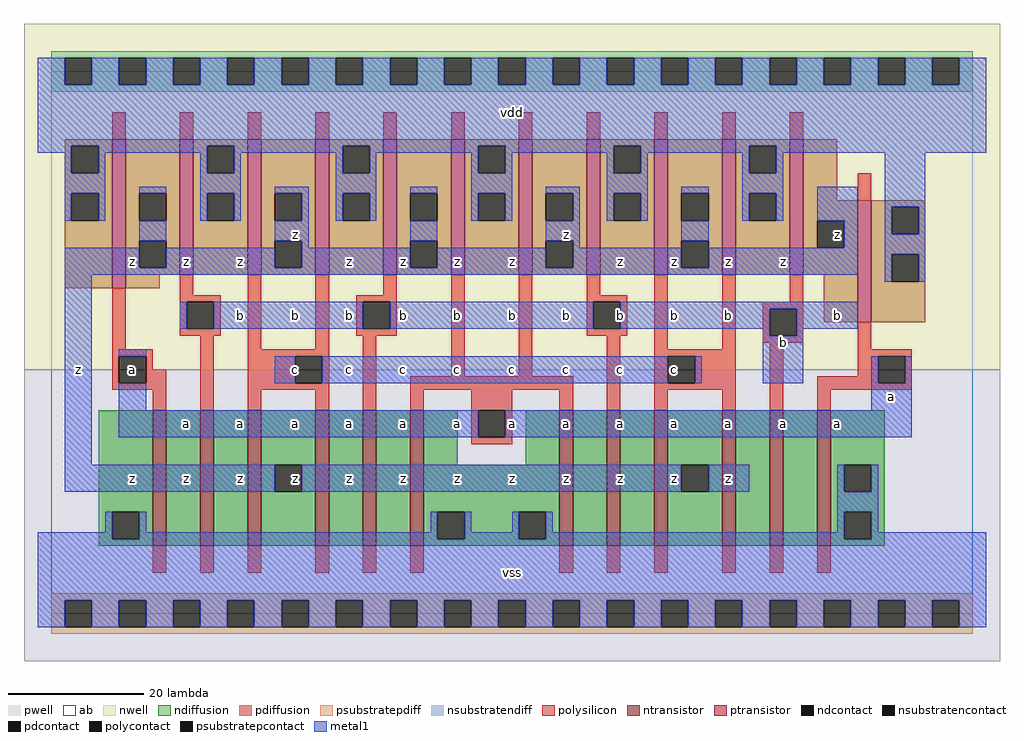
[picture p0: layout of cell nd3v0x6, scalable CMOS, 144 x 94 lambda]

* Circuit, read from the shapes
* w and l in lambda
.subckt nd3v0x6 a b c vdd vss z
M1 n1 a vss vss nfet w=20 l=2
M2 n2 b n1 vss nfet w=20 l=2
M3 z c n2 vss nfet w=20 l=2
M4 n3 c z vss nfet w=20 l=2
M5 n4 b n3 vss nfet w=20 l=2
M6 vss a n4 vss nfet w=20 l=2
M7 n5 a vss vss nfet w=20 l=2
M8 n6 b n5 vss nfet w=20 l=2
M9 z c n6 vss nfet w=20 l=2
M10 n7 c z vss nfet w=20 l=2
M11 n8 b n7 vss nfet w=20 l=2
M12 vss a n8 vss nfet w=20 l=2
M13 z a vdd vdd pfet w=22 l=2
M14 vdd b z vdd pfet w=20 l=2 m=4
M15 z c vdd vdd pfet w=20 l=2 m=4
M16 vdd a z vdd pfet w=20 l=2 m=2
M17 vdd a z vdd pfet w=18 l=2
.ends

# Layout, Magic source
magic
tech scmos
<< ab >>
rect 0 0 136 80
<< pwell >>
rect -4 -7 140 36
<< nwell >>
rect -4 36 140 87
<< polysilicon >>
rect 9 70 11 74
rect 19 70 21 74
rect 29 70 31 74
rect 39 70 41 74
rect 49 70 51 74
rect 59 70 61 74
rect 69 70 71 74
rect 79 70 81 74
rect 89 70 91 74
rect 99 70 101 74
rect 109 70 111 74
rect 119 61 121 65
rect 9 39 11 48
rect 19 47 21 50
rect 19 46 25 47
rect 19 42 20 46
rect 24 42 25 46
rect 19 41 25 42
rect 9 38 15 39
rect 9 34 10 38
rect 14 36 15 38
rect 14 34 17 36
rect 9 33 17 34
rect 15 30 17 33
rect 22 30 24 41
rect 29 39 31 50
rect 39 39 41 50
rect 49 47 51 50
rect 45 46 51 47
rect 45 42 46 46
rect 50 42 51 46
rect 45 41 51 42
rect 29 38 41 39
rect 29 34 36 38
rect 40 34 41 38
rect 29 33 41 34
rect 29 30 31 33
rect 39 30 41 33
rect 46 30 48 41
rect 59 35 61 50
rect 69 35 71 50
rect 79 47 81 50
rect 79 46 85 47
rect 79 42 80 46
rect 84 42 85 46
rect 79 41 85 42
rect 53 33 77 35
rect 53 30 55 33
rect 62 30 68 33
rect 75 30 77 33
rect 82 30 84 41
rect 89 39 91 50
rect 99 39 101 50
rect 109 46 111 50
rect 105 45 111 46
rect 105 41 106 45
rect 110 41 111 45
rect 105 40 111 41
rect 89 38 101 39
rect 89 34 91 38
rect 95 34 101 38
rect 89 33 101 34
rect 89 30 91 33
rect 99 30 101 33
rect 106 30 108 40
rect 119 39 121 43
rect 119 38 127 39
rect 119 35 122 38
rect 113 34 122 35
rect 126 34 127 38
rect 113 33 127 34
rect 113 30 115 33
rect 62 26 63 30
rect 67 26 68 30
rect 62 25 68 26
rect 15 6 17 10
rect 22 6 24 10
rect 29 6 31 10
rect 39 6 41 10
rect 46 6 48 10
rect 53 6 55 10
rect 75 6 77 10
rect 82 6 84 10
rect 89 6 91 10
rect 99 6 101 10
rect 106 6 108 10
rect 113 6 115 10
<< ndiffusion >>
rect 7 15 15 30
rect 7 11 9 15
rect 13 11 15 15
rect 7 10 15 11
rect 17 10 22 30
rect 24 10 29 30
rect 31 22 39 30
rect 31 18 33 22
rect 37 18 39 22
rect 31 10 39 18
rect 41 10 46 30
rect 48 10 53 30
rect 55 22 60 30
rect 70 22 75 30
rect 55 15 75 22
rect 55 11 57 15
rect 61 11 69 15
rect 73 11 75 15
rect 55 10 75 11
rect 77 10 82 30
rect 84 10 89 30
rect 91 22 99 30
rect 91 18 93 22
rect 97 18 99 22
rect 91 10 99 18
rect 101 10 106 30
rect 108 10 113 30
rect 115 22 123 30
rect 115 18 117 22
rect 121 18 123 22
rect 115 15 123 18
rect 115 11 117 15
rect 121 11 123 15
rect 115 10 123 11
<< pdiffusion >>
rect 2 69 9 70
rect 2 65 3 69
rect 7 65 9 69
rect 2 62 9 65
rect 2 58 3 62
rect 7 58 9 62
rect 2 48 9 58
rect 11 62 19 70
rect 11 58 13 62
rect 17 58 19 62
rect 11 55 19 58
rect 11 51 13 55
rect 17 51 19 55
rect 11 50 19 51
rect 21 69 29 70
rect 21 65 23 69
rect 27 65 29 69
rect 21 62 29 65
rect 21 58 23 62
rect 27 58 29 62
rect 21 50 29 58
rect 31 62 39 70
rect 31 58 33 62
rect 37 58 39 62
rect 31 55 39 58
rect 31 51 33 55
rect 37 51 39 55
rect 31 50 39 51
rect 41 69 49 70
rect 41 65 43 69
rect 47 65 49 69
rect 41 62 49 65
rect 41 58 43 62
rect 47 58 49 62
rect 41 50 49 58
rect 51 62 59 70
rect 51 58 53 62
rect 57 58 59 62
rect 51 55 59 58
rect 51 51 53 55
rect 57 51 59 55
rect 51 50 59 51
rect 61 69 69 70
rect 61 65 63 69
rect 67 65 69 69
rect 61 62 69 65
rect 61 58 63 62
rect 67 58 69 62
rect 61 50 69 58
rect 71 62 79 70
rect 71 58 73 62
rect 77 58 79 62
rect 71 55 79 58
rect 71 51 73 55
rect 77 51 79 55
rect 71 50 79 51
rect 81 69 89 70
rect 81 65 83 69
rect 87 65 89 69
rect 81 62 89 65
rect 81 58 83 62
rect 87 58 89 62
rect 81 50 89 58
rect 91 62 99 70
rect 91 58 93 62
rect 97 58 99 62
rect 91 55 99 58
rect 91 51 93 55
rect 97 51 99 55
rect 91 50 99 51
rect 101 69 109 70
rect 101 65 103 69
rect 107 65 109 69
rect 101 62 109 65
rect 101 58 103 62
rect 107 58 109 62
rect 101 50 109 58
rect 111 61 116 70
rect 111 58 119 61
rect 111 54 113 58
rect 117 54 119 58
rect 111 50 119 54
rect 11 48 16 50
rect 114 43 119 50
rect 121 60 129 61
rect 121 56 124 60
rect 128 56 129 60
rect 121 53 129 56
rect 121 49 124 53
rect 128 49 129 53
rect 121 43 129 49
<< metal1 >>
rect -2 78 2 82
rect 6 78 10 82
rect 14 78 18 82
rect 22 78 26 82
rect 30 78 34 82
rect 38 78 42 82
rect 46 78 50 82
rect 54 78 58 82
rect 62 78 66 82
rect 70 78 74 82
rect 78 78 82 82
rect 86 78 90 82
rect 94 78 98 82
rect 102 78 106 82
rect 110 78 114 82
rect 118 78 122 82
rect 126 78 130 82
rect 134 78 138 82
rect -2 69 138 78
rect -2 68 3 69
rect 2 65 3 68
rect 7 68 23 69
rect 7 65 8 68
rect 2 62 8 65
rect 22 65 23 68
rect 27 68 43 69
rect 27 65 28 68
rect 2 58 3 62
rect 7 58 8 62
rect 13 62 17 63
rect 22 62 28 65
rect 42 65 43 68
rect 47 68 63 69
rect 47 65 48 68
rect 22 58 23 62
rect 27 58 28 62
rect 33 62 38 63
rect 37 58 38 62
rect 42 62 48 65
rect 62 65 63 68
rect 67 68 83 69
rect 67 65 68 68
rect 42 58 43 62
rect 47 58 48 62
rect 53 62 57 63
rect 62 62 68 65
rect 82 65 83 68
rect 87 68 103 69
rect 87 65 88 68
rect 62 58 63 62
rect 67 58 68 62
rect 73 62 78 63
rect 77 58 78 62
rect 82 62 88 65
rect 102 65 103 68
rect 107 68 138 69
rect 107 65 108 68
rect 82 58 83 62
rect 87 58 88 62
rect 93 62 97 63
rect 102 62 108 65
rect 102 58 103 62
rect 107 58 108 62
rect 113 58 119 63
rect 13 55 17 58
rect 2 51 13 54
rect 33 55 38 58
rect 17 51 33 54
rect 37 54 38 55
rect 53 55 57 58
rect 37 51 53 54
rect 73 55 78 58
rect 57 51 73 54
rect 77 54 78 55
rect 93 55 97 58
rect 77 51 93 54
rect 117 54 119 58
rect 97 51 119 54
rect 2 50 119 51
rect 123 60 129 68
rect 123 56 124 60
rect 128 56 129 60
rect 123 53 129 56
rect 2 22 6 50
rect 123 49 124 53
rect 128 49 129 53
rect 19 42 20 46
rect 24 42 46 46
rect 50 42 80 46
rect 84 45 119 46
rect 84 42 106 45
rect 105 41 106 42
rect 110 42 119 45
rect 110 41 111 42
rect 10 38 14 39
rect 33 34 36 38
rect 40 34 91 38
rect 95 34 96 38
rect 105 34 111 41
rect 121 34 122 38
rect 126 34 127 38
rect 10 30 14 34
rect 121 30 127 34
rect 10 26 63 30
rect 67 26 127 30
rect 2 18 33 22
rect 37 18 93 22
rect 97 18 103 22
rect 116 18 117 22
rect 121 18 122 22
rect 116 15 122 18
rect 8 12 9 15
rect -2 11 9 12
rect 13 12 14 15
rect 56 12 57 15
rect 13 11 57 12
rect 61 12 62 15
rect 68 12 69 15
rect 61 11 69 12
rect 73 12 74 15
rect 116 12 117 15
rect 73 11 117 12
rect 121 12 122 15
rect 121 11 138 12
rect -2 2 138 11
rect -2 -2 2 2
rect 6 -2 10 2
rect 14 -2 18 2
rect 22 -2 26 2
rect 30 -2 34 2
rect 38 -2 42 2
rect 46 -2 50 2
rect 54 -2 58 2
rect 62 -2 66 2
rect 70 -2 74 2
rect 78 -2 82 2
rect 86 -2 90 2
rect 94 -2 98 2
rect 102 -2 106 2
rect 110 -2 114 2
rect 118 -2 122 2
rect 126 -2 130 2
rect 134 -2 138 2
<< ntransistor >>
rect 15 10 17 30
rect 22 10 24 30
rect 29 10 31 30
rect 39 10 41 30
rect 46 10 48 30
rect 53 10 55 30
rect 75 10 77 30
rect 82 10 84 30
rect 89 10 91 30
rect 99 10 101 30
rect 106 10 108 30
rect 113 10 115 30
<< ptransistor >>
rect 9 48 11 70
rect 19 50 21 70
rect 29 50 31 70
rect 39 50 41 70
rect 49 50 51 70
rect 59 50 61 70
rect 69 50 71 70
rect 79 50 81 70
rect 89 50 91 70
rect 99 50 101 70
rect 109 50 111 70
rect 119 43 121 61
<< polycontact >>
rect 20 42 24 46
rect 10 34 14 38
rect 46 42 50 46
rect 36 34 40 38
rect 80 42 84 46
rect 106 41 110 45
rect 91 34 95 38
rect 122 34 126 38
rect 63 26 67 30
<< ndcontact >>
rect 9 11 13 15
rect 33 18 37 22
rect 57 11 61 15
rect 69 11 73 15
rect 93 18 97 22
rect 117 18 121 22
rect 117 11 121 15
<< pdcontact >>
rect 3 65 7 69
rect 3 58 7 62
rect 13 58 17 62
rect 13 51 17 55
rect 23 65 27 69
rect 23 58 27 62
rect 33 58 37 62
rect 33 51 37 55
rect 43 65 47 69
rect 43 58 47 62
rect 53 58 57 62
rect 53 51 57 55
rect 63 65 67 69
rect 63 58 67 62
rect 73 58 77 62
rect 73 51 77 55
rect 83 65 87 69
rect 83 58 87 62
rect 93 58 97 62
rect 93 51 97 55
rect 103 65 107 69
rect 103 58 107 62
rect 113 54 117 58
rect 124 56 128 60
rect 124 49 128 53
<< psubstratepcontact >>
rect 2 -2 6 2
rect 10 -2 14 2
rect 18 -2 22 2
rect 26 -2 30 2
rect 34 -2 38 2
rect 42 -2 46 2
rect 50 -2 54 2
rect 58 -2 62 2
rect 66 -2 70 2
rect 74 -2 78 2
rect 82 -2 86 2
rect 90 -2 94 2
rect 98 -2 102 2
rect 106 -2 110 2
rect 114 -2 118 2
rect 122 -2 126 2
rect 130 -2 134 2
<< nsubstratencontact >>
rect 2 78 6 82
rect 10 78 14 82
rect 18 78 22 82
rect 26 78 30 82
rect 34 78 38 82
rect 42 78 46 82
rect 50 78 54 82
rect 58 78 62 82
rect 66 78 70 82
rect 74 78 78 82
rect 82 78 86 82
rect 90 78 94 82
rect 98 78 102 82
rect 106 78 110 82
rect 114 78 118 82
rect 122 78 126 82
rect 130 78 134 82
<< psubstratepdiff >>
rect 0 2 136 3
rect 0 -2 2 2
rect 6 -2 10 2
rect 14 -2 18 2
rect 22 -2 26 2
rect 30 -2 34 2
rect 38 -2 42 2
rect 46 -2 50 2
rect 54 -2 58 2
rect 62 -2 66 2
rect 70 -2 74 2
rect 78 -2 82 2
rect 86 -2 90 2
rect 94 -2 98 2
rect 102 -2 106 2
rect 110 -2 114 2
rect 118 -2 122 2
rect 126 -2 130 2
rect 134 -2 136 2
rect 0 -3 136 -2
<< nsubstratendiff >>
rect 0 82 136 83
rect 0 78 2 82
rect 6 78 10 82
rect 14 78 18 82
rect 22 78 26 82
rect 30 78 34 82
rect 38 78 42 82
rect 46 78 50 82
rect 54 78 58 82
rect 62 78 66 82
rect 70 78 74 82
rect 78 78 82 82
rect 86 78 90 82
rect 94 78 98 82
rect 102 78 106 82
rect 110 78 114 82
rect 118 78 122 82
rect 126 78 130 82
rect 134 78 136 82
rect 0 77 136 78
<< labels >>
rlabel metal1 12 20 12 20 6 z
rlabel metal1 4 36 4 36 6 z
rlabel polycontact 12 36 12 36 6 a
rlabel metal1 12 52 12 52 6 z
rlabel metal1 20 20 20 20 6 z
rlabel metal1 28 20 28 20 6 z
rlabel ndcontact 36 20 36 20 6 z
rlabel metal1 28 28 28 28 6 a
rlabel metal1 36 28 36 28 6 a
rlabel metal1 20 28 20 28 6 a
rlabel metal1 36 36 36 36 6 c
rlabel metal1 28 44 28 44 6 b
rlabel metal1 36 44 36 44 6 b
rlabel metal1 20 52 20 52 6 z
rlabel metal1 28 52 28 52 6 z
rlabel metal1 36 56 36 56 6 z
rlabel metal1 44 20 44 20 6 z
rlabel metal1 52 20 52 20 6 z
rlabel metal1 60 20 60 20 6 z
rlabel metal1 52 28 52 28 6 a
rlabel metal1 60 28 60 28 6 a
rlabel metal1 44 28 44 28 6 a
rlabel metal1 44 36 44 36 6 c
rlabel metal1 52 36 52 36 6 c
rlabel metal1 60 36 60 36 6 c
rlabel metal1 52 44 52 44 6 b
rlabel metal1 60 44 60 44 6 b
rlabel metal1 44 44 44 44 6 b
rlabel metal1 44 52 44 52 6 z
rlabel metal1 52 52 52 52 6 z
rlabel metal1 60 52 60 52 6 z
rlabel metal1 68 6 68 6 6 vss
rlabel metal1 68 20 68 20 6 z
rlabel metal1 76 20 76 20 6 z
rlabel metal1 84 20 84 20 6 z
rlabel metal1 76 28 76 28 6 a
rlabel metal1 84 28 84 28 6 a
rlabel metal1 68 28 68 28 6 a
rlabel metal1 68 36 68 36 6 c
rlabel metal1 76 36 76 36 6 c
rlabel metal1 84 36 84 36 6 c
rlabel metal1 76 44 76 44 6 b
rlabel metal1 84 44 84 44 6 b
rlabel metal1 68 44 68 44 6 b
rlabel metal1 68 52 68 52 6 z
rlabel metal1 84 52 84 52 6 z
rlabel metal1 76 56 76 56 6 z
rlabel metal1 68 74 68 74 6 vdd
rlabel metal1 92 20 92 20 6 z
rlabel metal1 100 20 100 20 6 z
rlabel metal1 100 28 100 28 6 a
rlabel metal1 108 28 108 28 6 a
rlabel metal1 92 28 92 28 6 a
rlabel polycontact 92 36 92 36 6 c
rlabel metal1 100 44 100 44 6 b
rlabel metal1 108 40 108 40 6 b
rlabel metal1 92 44 92 44 6 b
rlabel metal1 92 52 92 52 6 z
rlabel metal1 100 52 100 52 6 z
rlabel metal1 108 52 108 52 6 z
rlabel metal1 116 28 116 28 6 a
rlabel metal1 124 32 124 32 6 a
rlabel metal1 116 44 116 44 6 b
rlabel pdcontact 116 56 116 56 6 z
<< end >>
